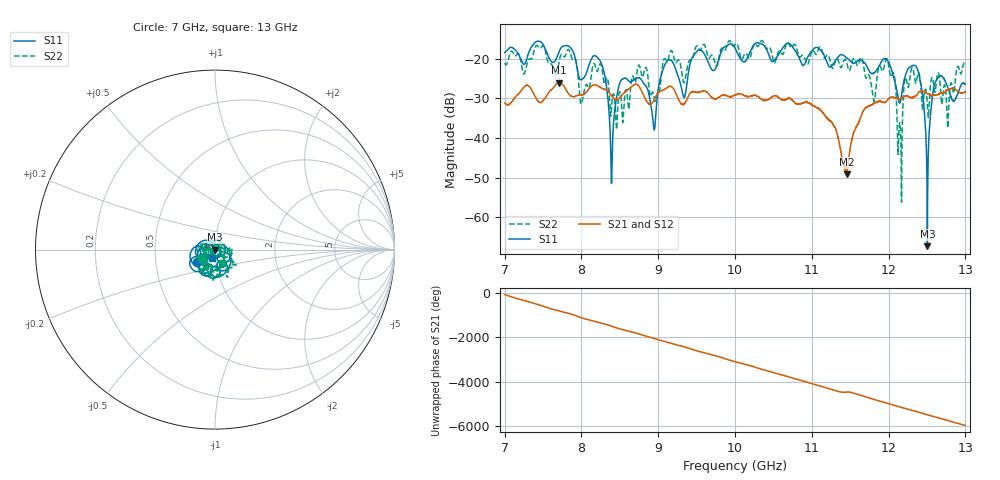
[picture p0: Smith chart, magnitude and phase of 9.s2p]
[Version] 2.0
! Rohde & Schwarz Vector Network Analyzer
! Rohde-Schwarz,ZNL20-2Port,1323001220200009,1.71.1.10-23.02.1.238
! Port Assignments:
! Nominal Port -> Actual Test Port
!  1 -> 1
!  2 -> 2
! Created: GMT+3 2024-09-24 16:05:16
# Hz S DB R 50
[Number of Ports] 2
[Two-Port Data Order] 21_12
! freq[Hz]  S11[mag dB]  S11[ang]  S21[mag dB]  S21[ang]  S12[mag dB]  S12[ang]  S22[mag dB]  S22[ang]
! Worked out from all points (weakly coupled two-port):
!   6001 points, 7 GHz to 13 GHz, reference 50 ohm
!   highest |S21| = -26.05 dB at 7.704 GHz (marker M1); lowest = -49.1 dB at 11.45 GHz (marker M2)
!   lowest |S11| = -67.3 dB at 12.51 GHz (marker M3), VSWR 1.00, Z = 50 + j0.0263 ohm
!   |S11| at or under -10 dB: start of sweep to end of sweep
!   |S22| runs from -56.2 to -15.4 dB; largest |S21 - S12| = 0.0013
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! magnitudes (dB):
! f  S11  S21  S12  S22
! 7 GHz  -18.4  -31.1  -31.1  -21.1
! 7.704 GHz  -18.5  -26.1  -26.0  -21.4
! 8 GHz  -25.2  -29.1  -29.1  -31.4
! 8.252 GHz  -20.8  -27.3  -27.3  -21.3
! 8.394 GHz  -50.6  -29.4  -29.3  -32.0
! 8.527 GHz  -25.2  -29.2  -29.2  -33.0
! 8.749 GHz  -24.8  -26.9  -26.9  -21.6
! 8.941 GHz  -37.2  -30.6  -30.6  -29.1
! 9 GHz  -27.7  -28.7  -28.7  -28.5
! 9.166 GHz  -20.3  -27.0  -27.0  -17.9
! 9.336 GHz  -29.7  -31.4  -31.4  -26.1
! 9.503 GHz  -18.1  -28.5  -28.5  -16.7
! 10 GHz  -17.3  -29.2  -29.2  -16.4
! 11 GHz  -18.0  -31.6  -31.6  -18.0
! 11.45 GHz  -19.8  -49.1  -48.9  -20.9
! 12 GHz  -20.8  -30.1  -30.1  -21.7
! 12.14 GHz  -31.2  -30.1  -30.2  -36.1
! 12.22 GHz  -24.3  -29.5  -29.4  -24.9
! 12.36 GHz  -22.1  -29.2  -29.2  -25.6
! 12.51 GHz  -67.3  -28.8  -28.7  -31.6
! 12.63 GHz  -25.2  -29.2  -29.3  -25.1
! 13 GHz  -26.4  -28.4  -28.3  -21.6
